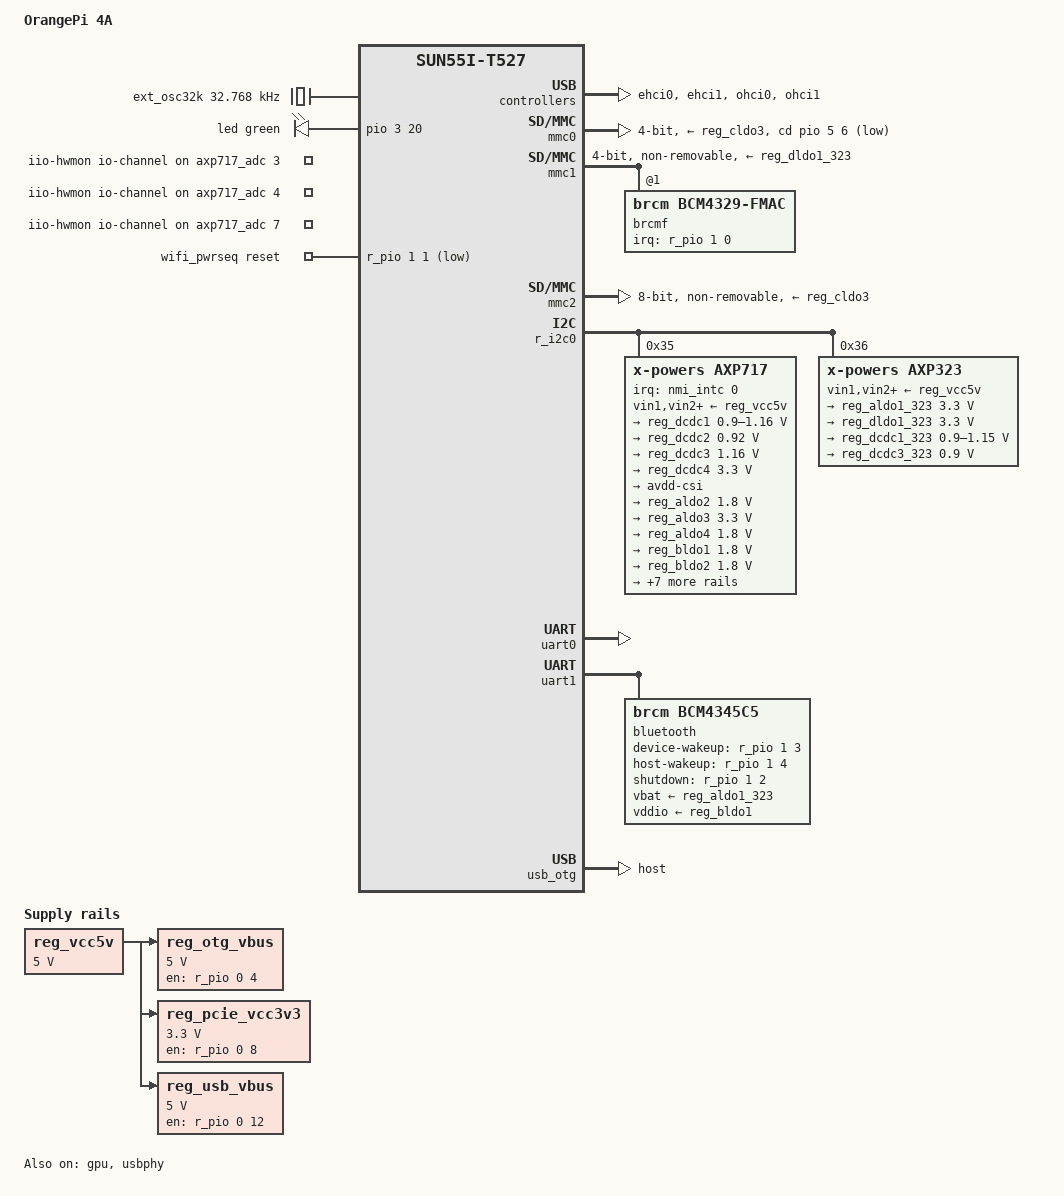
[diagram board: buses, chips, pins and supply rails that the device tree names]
// SPDX-License-Identifier: (GPL-2.0-only OR MIT)
/*
 * Copyright (C) 2025 Chen-Yu Tsai <wens@csie.org>
 */

/dts-v1/;

#include "sun55i-a523.dtsi"

#include <dt-bindings/gpio/gpio.h>
#include <dt-bindings/leds/common.h>

/ {
	model = "OrangePi 4A";
	compatible = "xunlong,orangepi-4a", "allwinner,sun55i-t527";

	aliases {
		serial0 = &uart0;
	};

	chosen {
		stdout-path = "serial0:115200n8";
	};

	ext_osc32k: ext-osc32k-clk {
		#clock-cells = <0>;
		compatible = "fixed-clock";
		clock-frequency = <32768>;
		clock-output-names = "ext_osc32k";
	};

	leds {
		compatible = "gpio-leds";

		/* PWM capable pin, but PWM isn't supported yet. */
		led {
			function = LED_FUNCTION_STATUS;
			color = <LED_COLOR_ID_GREEN>;
			gpios = <&pio 3 20 GPIO_ACTIVE_HIGH>; /* PD20 */
		};
	};

	iio-hwmon {
		compatible = "iio-hwmon";
		io-channels = <&axp717_adc 3>, /* vsys_v */
			      <&axp717_adc 4>, /* pmic_temp */
			      <&axp717_adc 7>; /* bkup_batt_v */
	};

	wifi_pwrseq: pwrseq {
		compatible = "mmc-pwrseq-simple";
		reset-gpios = <&r_pio 1 1 GPIO_ACTIVE_LOW>; /* PM1 */
		clocks = <&rtc CLK_OSC32K_FANOUT>;
		clock-names = "ext_clock";
	};

	reg_otg_vbus: regulator-otg-vbus {
		compatible = "regulator-fixed";
		regulator-name = "otg-vbus";
		regulator-min-microvolt = <5000000>;
		regulator-max-microvolt = <5000000>;
		vin-supply = <&reg_vcc5v>;
		gpio = <&r_pio 0 4 GPIO_ACTIVE_HIGH>;	/* PL4 */
		enable-active-high;
	};

	reg_pcie_vcc3v3: regulator-pcie-vcc3v3 {
		compatible = "regulator-fixed";
		regulator-name = "vcc-pcie-3v3";
		regulator-min-microvolt = <3300000>;
		regulator-max-microvolt = <3300000>;
		vin-supply = <&reg_vcc5v>;
		gpio = <&r_pio 0 8 GPIO_ACTIVE_HIGH>;	/* PL8 */
		enable-active-high;
	};

	reg_usb_vbus: regulator-usb-vbus {
		compatible = "regulator-fixed";
		regulator-name = "usb-vbus";
		regulator-min-microvolt = <5000000>;
		regulator-max-microvolt = <5000000>;
		vin-supply = <&reg_vcc5v>;
		gpio = <&r_pio 0 12 GPIO_ACTIVE_HIGH>;	/* PL12 */
		enable-active-high;
	};

	reg_vcc5v: regulator-vcc5v {
		/* board wide 5V supply from USB type-C port */
		compatible = "regulator-fixed";
		regulator-name = "vcc-5v";
		regulator-min-microvolt = <5000000>;
		regulator-max-microvolt = <5000000>;
		regulator-always-on;
	};
};

&ehci0 {
	status = "okay";
};

&ehci1 {
	status = "okay";
};

&gpu {
	mali-supply = <&reg_dcdc2>;
	status = "okay";
};

&mmc0 {
	vmmc-supply = <&reg_cldo3>;
	cd-gpios = <&pio 5 6 (GPIO_ACTIVE_LOW | GPIO_PULL_UP)>; /* PF6 */
	bus-width = <4>;
	status = "okay";
};

&mmc1 {
	bus-width = <4>;
	mmc-pwrseq = <&wifi_pwrseq>;
	non-removable;
	vmmc-supply = <&reg_dldo1_323>;
	vqmmc-supply = <&reg_bldo1>;
	status = "okay";

	brcmf: wifi@1 {
		compatible = "brcm,bcm4329-fmac";
		reg = <1>;
		interrupt-parent = <&r_pio>;
		interrupts = <1 0 IRQ_TYPE_LEVEL_LOW>; /* PM0 */
		interrupt-names = "host-wake";
	};
};

&mmc2 {
	bus-width = <8>;
	cap-mmc-hw-reset;
	mmc-ddr-1_8v;
	mmc-hs200-1_8v;
	non-removable;
	vmmc-supply = <&reg_cldo3>;
	vqmmc-supply = <&reg_cldo1>;
	status = "okay";
};

&ohci0 {
	status = "okay";
};

&ohci1 {
	status = "okay";
};

&pio {
	vcc-pb-supply = <&reg_cldo3>;	/* via VCC-IO */
	vcc-pc-supply = <&reg_cldo1>;
	vcc-pd-supply = <&reg_cldo3>;
	vcc-pe-supply = <&reg_aldo2>;
	vcc-pf-supply = <&reg_cldo3>;	/* VCC-IO for 3.3v; VCC-MCSI for 1.8v */
	vcc-pg-supply = <&reg_bldo1>;
	vcc-ph-supply = <&reg_cldo3>;	/* via VCC-IO */
	vcc-pi-supply = <&reg_cldo3>;
	vcc-pj-supply = <&reg_cldo1>;
	vcc-pk-supply = <&reg_cldo1>;
};

&r_i2c0 {
	status = "okay";

	axp717: pmic@35 {
		compatible = "x-powers,axp717";
		reg = <0x35>;
		interrupt-controller;
		#interrupt-cells = <1>;
		interrupts-extended = <&nmi_intc 0 IRQ_TYPE_LEVEL_LOW>;

		vin1-supply = <&reg_vcc5v>;
		vin2-supply = <&reg_vcc5v>;
		vin3-supply = <&reg_vcc5v>;
		vin4-supply = <&reg_vcc5v>;
		aldoin-supply = <&reg_vcc5v>;
		bldoin-supply = <&reg_vcc5v>;
		cldoin-supply = <&reg_vcc5v>;

		axp717_adc: adc {
			compatible = "x-powers,axp717-adc";
			#io-channel-cells = <1>;
		};

		battery-power {
			compatible = "x-powers,axp717-battery-power-supply";
			/* no battery; output used for dcdc4 instead */
			status = "disabled";
		};

		regulators {
			/* Supplies the "little" cluster (1.4 GHz cores) */
			reg_dcdc1: dcdc1 {
				regulator-always-on;
				regulator-min-microvolt = <900000>;
				regulator-max-microvolt = <1160000>;
				regulator-name = "vdd-cpul";
			};

			reg_dcdc2: dcdc2 {
				regulator-always-on;
				regulator-min-microvolt = <920000>;
				regulator-max-microvolt = <920000>;
				regulator-name = "vdd-gpu-sys";
			};

			reg_dcdc3: dcdc3 {
				regulator-always-on;
				regulator-min-microvolt = <1160000>;
				regulator-max-microvolt = <1160000>;
				regulator-name = "vcc-dram";
			};

			reg_dcdc4: dcdc4 {
				/* feeds 3.3V pin on GPIO header */
				regulator-always-on;
				regulator-min-microvolt = <3300000>;
				regulator-max-microvolt = <3300000>;
				regulator-name = "vdd-io";
			};

			aldo1 {
				/* not actually connected */
				regulator-name = "avdd-csi";
			};

			reg_aldo2: aldo2 {
				regulator-min-microvolt = <1800000>;
				regulator-max-microvolt = <1800000>;
				regulator-name = "vcc-pe";
			};

			reg_aldo3: aldo3 {
				/* supplies the I2C pins for this PMIC */
				regulator-always-on;
				regulator-min-microvolt = <3300000>;
				regulator-max-microvolt = <3300000>;
				regulator-name = "vcc-pl-usb";
			};

			reg_aldo4: aldo4 {
				regulator-always-on;
				regulator-min-microvolt = <1800000>;
				regulator-max-microvolt = <1800000>;
				regulator-name = "vcc-pll-dxco-avcc";
			};

			reg_bldo1: bldo1 {
				regulator-min-microvolt = <1800000>;
				regulator-max-microvolt = <1800000>;
				regulator-name = "vcc-pg-wifi";
			};

			reg_bldo2: bldo2 {
				regulator-always-on;
				regulator-min-microvolt = <1800000>;
				regulator-max-microvolt = <1800000>;
				regulator-name = "vcc-pm-lpddr";
			};

			bldo3 {
				/* not actually connected */
				regulator-name = "afvcc-csi";
			};

			bldo4 {
				/* not actually connected */
				regulator-name = "dvdd-csi";
			};

			reg_cldo1: cldo1 {
				regulator-always-on;
				regulator-min-microvolt = <1800000>;
				regulator-max-microvolt = <1800000>;
				regulator-name = "vcc-cvp-pc-lvds-mcsi-pk-efuse-pcie-edp-1v8";
			};

			reg_cldo2: cldo2 {
				regulator-min-microvolt = <3300000>;
				regulator-max-microvolt = <3300000>;
				regulator-name = "vcc3v3-csi";
			};

			reg_cldo3: cldo3 {
				regulator-always-on;
				regulator-min-microvolt = <3300000>;
				regulator-max-microvolt = <3300000>;
				regulator-name = "vcc-io-mmc-nand-pd-pi-usb";
			};

			reg_cldo4: cldo4 {
				regulator-min-microvolt = <3300000>;
				regulator-max-microvolt = <3300000>;
				regulator-name = "vcc-3v3-phy1-lcd";
			};

			reg_cpusldo: cpusldo {
				/* supplies the management core */
				regulator-always-on;
				regulator-min-microvolt = <900000>;
				regulator-max-microvolt = <900000>;
				regulator-name = "vdd-cpus-usb-0v9";
			};
		};

		usb-power {
			compatible = "x-powers,axp717-usb-power-supply";
			input-current-limit-microamp = <3000000>;
		};
	};

	axp323: pmic@36 {
		compatible = "x-powers,axp323";
		reg = <0x36>;
		#interrupt-cells = <1>;
		interrupt-controller;
		status = "okay";

		vin1-supply = <&reg_vcc5v>;
		vin2-supply = <&reg_vcc5v>;
		vin3-supply = <&reg_vcc5v>;

		regulators {
			reg_aldo1_323: aldo1 {
				/* less capable and shares load with dldo1 */
				regulator-min-microvolt = <3300000>;
				regulator-max-microvolt = <3300000>;
				regulator-name = "vcc-wifi";
			};

			reg_dldo1_323: dldo1 {
				/* more capable and shares load with aldo1 */
				regulator-min-microvolt = <3300000>;
				regulator-max-microvolt = <3300000>;
				regulator-name = "vcc-wifi2";
			};

			/* Supplies the "big" cluster (1.8 GHz cores) */
			reg_dcdc1_323: dcdc1 {
				regulator-always-on;
				regulator-min-microvolt = <900000>;
				regulator-max-microvolt = <1150000>;
				regulator-name = "vdd-cpub";
			};

			/* DCDC2 is polyphased with DCDC1 */

			/* Some RISC-V management core related voltage */
			reg_dcdc3_323: dcdc3 {
				regulator-always-on;
				regulator-min-microvolt = <900000>;
				regulator-max-microvolt = <900000>;
				regulator-name = "vdd-dnr";
			};
		};
	};
};

&r_pio {
/*
 * Specifying the supply would create a circular dependency.
 *
 *	vcc-pl-supply = <&reg_aldo3>;
 */
	vcc-pm-supply = <&reg_bldo2>;
};

&rtc {
	clocks = <&r_ccu CLK_BUS_R_RTC>, <&osc24M>,
		 <&r_ccu CLK_R_AHB>, <&ext_osc32k>;
	clock-names = "bus", "hosc", "ahb", "ext-osc32k";
	assigned-clocks = <&rtc CLK_OSC32K>;
	assigned-clock-rates = <32768>;
};

&uart0 {
	pinctrl-names = "default";
	pinctrl-0 = <&uart0_pb_pins>;
	status = "okay";
};

&uart1 {
	pinctrl-names = "default";
	pinctrl-0 = <&uart1_pins>, <&uart1_rts_cts_pins>;
	uart-has-rtscts;
	status = "okay";

	bluetooth {
		compatible = "brcm,bcm4345c5";
		clocks = <&rtc CLK_OSC32K_FANOUT>;
		clock-names = "lpo";
		vbat-supply = <&reg_aldo1_323>;
		vddio-supply = <&reg_bldo1>;
		device-wakeup-gpios = <&r_pio 1 3 GPIO_ACTIVE_HIGH>; /* PM3 */
		host-wakeup-gpios = <&r_pio 1 4 GPIO_ACTIVE_HIGH>; /* PM4 */
		shutdown-gpios = <&r_pio 1 2 GPIO_ACTIVE_HIGH>; /* PM2 */
	};
};

&usb_otg {
	/*
	 * The OTG controller is connected to one of the type-A ports.
	 * There is a regulator, controlled by a GPIO, to provide VBUS power
	 * to the port, and a VBUSDET GPIO, to detect externally provided
	 * power. But without ID or CC pins there is no real way to do a
	 * runtime role detection.
	 */
	dr_mode = "host";
	status = "okay";
};

&usbphy {
	usb0_vbus-supply = <&reg_otg_vbus>;
	usb0_vbus_det-gpios = <&r_pio 0 7 GPIO_ACTIVE_HIGH>; /* PL7 */
	usb1_vbus-supply = <&reg_usb_vbus>;
	status = "okay";
};
